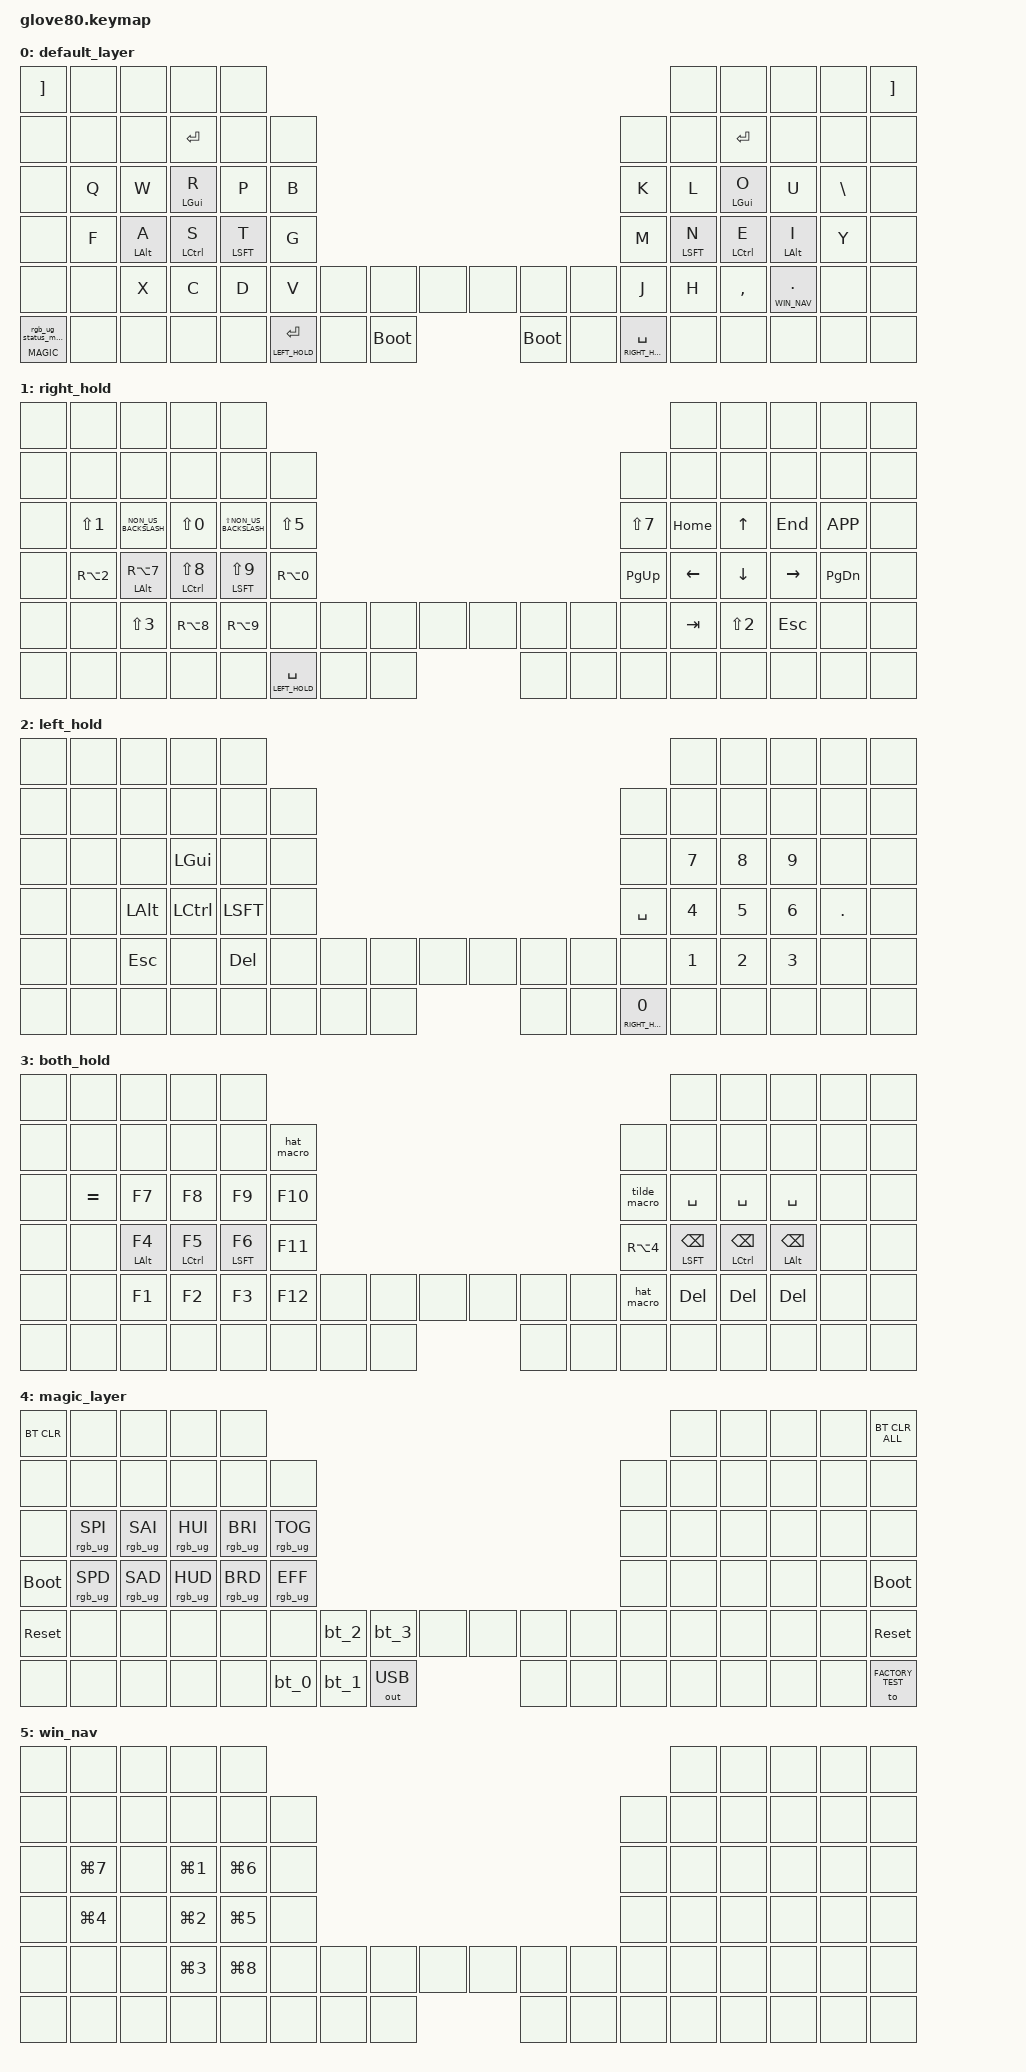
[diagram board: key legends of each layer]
/*
 * Copyright (c) 2020 The ZMK Contributors.key
 *
 * SPDX-License-Identifier: MIT
 */

#include <behaviors.dtsi>
#include <dt-bindings/zmk/keys.h>
#include <dt-bindings/zmk/bt.h>
#include <dt-bindings/zmk/ext_power.h>
#include <dt-bindings/zmk/outputs.h>
#include <dt-bindings/zmk/rgb.h>

#define HYPER LC(LS(LG(LALT)))

// layers
#define DEFAULT 0
#define RIGHT_HOLD 1
#define LEFT_HOLD 2
#define BOTH_HOLD 3 
#define MAGIC 4
#define WIN_NAV 5
#define FKEYS 6

#define DA_HAT LS(RBKT)
#define DA_TILDE RA(RBKT)
#define DA_DLR RA(N4)

#define ______ &none
#define FACTORY_TEST 3
#define DK_LT NON_US_BACKSLASH
#define DK_GT LS(NON_US_BACKSLASH)
#define DK_BACK RA(NON_US_BACKSLASH)
#define DK_AMP LS(N6)
#define DK_PIPE RA(EQUAL)
#define DK_BACKTICK EQUAL
#define DK_PLUS MINUS
#define LEFT_HAND_KEYS  \
     0  1  2  3  4      \
    10 11 12 13 14 15   \
    22 23 24 25 26 27   \
    34 35 36 37 38 39   \
    46 47 48 49 50 51 52 53 54 \
    64 65 66 67 68    69 70 71 


#define RIGHT_HAND_KEYS \
             5  6  7  8  9    \
          16 17 18 19 20 21   \
          28 29 30 31 32 33   \
          40 41 42 43 44 45   \
 55 56 57 58 59 60 61 62 63   \
 72 73 74    75 76 77 78 78
#define ENT ENTER
/ {
    behaviors {
      gui: homerow_mods_gui { compatible = "zmk,behavior-hold-tap"; label = "HOMEROW_MODS_GUI"; #binding-cells = <2>; tapping-term-ms = <350>; flavor = "tap-preferred"; bindings = <&kp>, <&kp>; };
      rm: homerow_mods_right {
          compatible = "zmk,behavior-hold-tap";
          label = "HOMEROW_MODS";
          #binding-cells = <2>;
          tapping-term-ms = <200>;
          flavor = "balanced";
          bindings = <&kp>, <&kp>;
        //  hold-trigger-key-positions = <LEFT_HAND_KEYS>;
      }; 

      lm: homerow_mods_left {
          compatible = "zmk,behavior-hold-tap";
          label = "HOMEROW_MODS";
          #binding-cells = <2>;
          tapping-term-ms = <200>;
          flavor = "balanced";
          bindings = <&kp>, <&kp>;
          //hold-trigger-key-positions = <RIGHT_HAND_KEYS>;
      };
      magic: magic_hold_tap {
            compatible = "zmk,behavior-hold-tap";
            label = "MAGIC_HOLD_TAP";
            #binding-cells = <2>;
            flavor = "tap-preferred";
            tapping-term-ms = <200>;
            bindings = <&mo>, <&rgb_ug_status_macro>;
      };
      thumbs: thumb_balanced {
            compatible = "zmk,behavior-hold-tap";
            label = "thumb_stuff";
            #binding-cells = <2>;
            flavor = "balanced";
            tapping-term-ms = <200>;
            bindings = <&mo>, <&kp>;
      };
    conditional_layers {
        compatible = "zmk,conditional-layers";
        tri_layer {
          if-layers = <1 2>;
          then-layer = <3>;
        };
      };

    combos {
        compatible = "zmk,combos";
        // base layer combos
        combo_j { timeout-ms = <50>; key-positions = <24 25>; bindings = <&kp J>; layers = <0>;};
        combo_ae { timeout-ms = <50>; key-positions = <29 30>; bindings = <&kp SEMI>; layers = <0>; };
        combo_oe { timeout-ms = <50>; key-positions = <29 31>; bindings = <&kp SQT>;  layers = <0>; };
        combo_aa { timeout-ms = <50>; key-positions = <30 31>; bindings = <&kp LBKT>;  layers = <0>; };
        combo_v { timeout-ms = <50>; key-positions = <37 38>; bindings = <&kp V>;  layers = <0>;};
        combo_z { timeout-ms = <50>; key-positions = <36 37>; bindings = <&kp Z>;  layers = <0>;};
        //combo_z { timeout-ms = <50>; key-positions = <48 49>; bindings = <&kp Z>;  layers = <0>;};
        combo_dash { timeout-ms = <50>; key-positions = <42 43>; bindings = <&kp SLASH>; layers = <0>;};
        //combo_dash { timeout-ms = <50>; key-positions = <41 42>; bindings = <&kp SLASH>; layers = <0>;};
        
        // arrow layer combos

        combo_exclamation { timeout-ms = <50>; key-positions = <24 25>; bindings = <&kp LS(N1)>; layers = <1>;};
        combo_question { timeout-ms = <50>; key-positions = <30 31>; bindings = <&kp LS(MINUS)>;  layers = <1>; };
        combo_backslash { timeout-ms = <50>; key-positions = <48 49>; bindings = <&kp DK_BACK>; layers = <1>; };
        combo_and_ampersand { timeout-ms = <50>; key-positions = <37 38>; bindings = <&kp DK_AMP>;layers = <1>; };
        combo_or_pipe { timeout-ms = <50>; key-positions = <41 42>; bindings = <&kp DK_PIPE>; layers = <1>; };
        combo_plus { timeout-ms = <50>; key-positions = <42 43>; bindings = <&kp DK_PLUS>; layers = <1>; };

        combo_alt_f4 { timeout-ms = <50>; key-positions = <38 41>; bindings = <&kp LA(F4)>; layers = <3>;};
        //combo_enter_left { timeout-ms = <50>; key-positions = <36 37 38>; bindings = <&kp ENTER>; };
        //combo_enter_right { timeout-ms = <50>; key-positions = <41 42 43>; bindings = <&kp ENTER>; };
      };

    };

    macros {
        rgb_ug_status_macro: rgb_ug_status_macro_0 { label = "RGB_UG_STATUS"; compatible = "zmk,behavior-macro"; #binding-cells = <0>; bindings = <&rgb_ug RGB_STATUS>; };
        bt_0: bt_profile_macro_0 { label = "BT_0"; compatible = "zmk,behavior-macro"; #binding-cells = <0>; bindings = <&out OUT_BLE>, <&bt BT_SEL 0>; };
        bt_1: bt_profile_macro_1 { label = "BT_1"; compatible = "zmk,behavior-macro"; #binding-cells = <0>; bindings = <&out OUT_BLE>, <&bt BT_SEL 1>; };
        bt_2: bt_profile_macro_2 { label = "BT_2"; compatible = "zmk,behavior-macro"; #binding-cells = <0>; bindings = <&out OUT_BLE>, <&bt BT_SEL 2>; };
        bt_3: bt_profile_macro_3 { label = "BT_3"; compatible = "zmk,behavior-macro"; #binding-cells = <0>; bindings = <&out OUT_BLE>, <&bt BT_SEL 3>; };
        tilde_macro: tilde_macro { compatible = "zmk,behavior-macro"; #binding-cells = <0>; bindings = <&macro_press &kp RALT>, <&macro_tap &kp RBKT>, <&macro_release &kp RALT>, <&macro_tap &kp SPACE>; };
       hat_macro: hat_macro { compatible = "zmk,behavior-macro"; #binding-cells = <0>; bindings = <&kp DA_HAT &kp SPACE>; };
    };

    keymap {

        compatible = "zmk,keymap";
        default_layer {
            bindings = <
           &kp RBKT        ______     ______     ______      ______                                                                                                                  ______       ______      ______          ______    &kp RBKT
           ______          ______     ______     &kp ENTER   ______      ______                                                                                            ______    ______       &kp ENTER   ______          ______    ______
           ______          &kp Q      &kp W      &gui LGUI R &kp P       &kp B                                                                                             &kp K     &kp L        &gui LGUI O &kp U           &kp BSLH  ______
           ______          &kp F  &lm LALT A &lm LCTL S  &lm LSFT T  &kp G                                                                                             &kp M     &rm LSFT N   &rm LCTL E  &rm LALT I      &kp Y     ______
           ______          ______     &kp X      &kp C       &kp D       &kp V   ______                  ______ ______      ______      ______ ______                     &kp J    &kp H        &kp COMMA   &lt WIN_NAV DOT ______    ______
           &magic MAGIC 0  ______     ______     ______      ______               &thumbs LEFT_HOLD ENTER ______ &bootloader &bootloader ______ &thumbs RIGHT_HOLD SPACE             ______       ______      ______          ______    ______
            >;
        };

        right_hold {
            bindings = <
            ______ ______      ______          ______          ______                                                                                                           ______     ______     ______    ______        ______
            ______ ______      ______          ______          ______          ______                                                                                ______     ______     ______     ______    ______        ______
            ______ &kp LS(N1)  &kp DK_LT       &kp LS(N0)      &kp DK_GT       &kp LS(N5)                                                                            &kp LS(N7) &kp HOME   &kp UP     &kp END   &kp K_APP     ______
            ______ &kp RA(N2)  &lm LALT RA(N7) &lm LCTL LS(N8) &lm LSFT LS(N9) &kp RA(N0)                                                                            &kp PG_UP  &kp LEFT   &kp DOWN   &kp RIGHT &kp PG_DN     ______
            ______ ______      &kp LS(N3)      &kp RA(N8)      &kp RA(N9)      ______     ______            ______      ______      ______      ______    ______     ______     &kp TAB    &kp LS(N2) &kp ESC   ______        ______
            ______ ______      ______          ______          ______             &thumbs LEFT_HOLD SPACE   ______      ______      ______      ______    ______                ______     ______     ______    ______        ______
            >;
        };
        
        left_hold {
            bindings = <
            ______ ______ ______   ______   ______                                                                                       ______  ______ ______ ______  ______ 
            ______ ______ ______   ______   ______    ______                                                                   ______    ______  ______ ______ ______  ______      
            ______ ______ ______   &kp LGUI ______    ______                                                                   ______    &kp N7 &kp N8  &kp N9 ______  ______      
            ______ ______ &kp LALT &kp LCTL &kp LSFT  ______                                                                   &kp SPACE &kp N4 &kp N5  &kp N6 &kp DOT ______      
            ______ ______ &kp ESC  ______   &kp DEL   ______    ______ ______ ______      ______ ______ ______                 ______    &kp N1 &kp N2  &kp N3 ______  ______      
            ______ ______ ______   ______   ______              ______ ______ ______      ______ ______ &thumbs RIGHT_HOLD N0            ______ ______  ______ ______  ______ 
            >;
        };

        both_hold {
            bindings = <
            ______ ______          ______      ______      ______                                                                                           ______        ______        ______        ______ ______ 
            ______ ______          ______      ______      ______      &hat_macro                                                             ______        ______        ______        ______        ______ ______      
            ______ &kp DK_BACKTICK &kp F7      &kp F8      &kp F9      &kp F10                                                                &tilde_macro  &kp SPACE     &kp SPACE     &kp SPACE     ______ ______
            ______ ______          &lm LALT F4 &lm LCTL F5 &lm LSFT F6 &kp F11                                                                &kp DA_DLR    &rm LSFT BKSP &rm LCTL BKSP &rm LALT BKSP ______ ______
            ______ ______          &kp F1      &kp F2      &kp F3      &kp F12  ______  ______ ______      ______ ______ ______               &hat_macro    &kp DEL       &kp DEL       &kp DEL       ______ ______
            ______ ______          ______      ______      ______               ______  ______ ______      ______ ______ ______               ______        ______        ______        ______        ______ 
            >;
        };
        magic_layer {
            bindings = <
            &bt BT_CLR        &none               &none           &none           &none                                                                                                           &none      &none      &none      &none      &bt BT_CLR_ALL
            &none             &none               &none           &none           &none           &none                                                                                &none      &none      &none      &none      &none      &none
            &none             &rgb_ug RGB_SPI     &rgb_ug RGB_SAI &rgb_ug RGB_HUI &rgb_ug RGB_BRI &rgb_ug RGB_TOG                                                                      &none      &none      &none      &none      &none      &none
            &bootloader       &rgb_ug RGB_SPD     &rgb_ug RGB_SAD &rgb_ug RGB_HUD &rgb_ug RGB_BRD &rgb_ug RGB_EFF                                                                      &none      &none      &none      &none      &none      &bootloader
            &sys_reset        &none               &none           &none           &none           &none           &bt_2     &bt_3     &none            &none     &none     &none       &none      &none      &none      &none      &none      &sys_reset
            &none             &none               &none           &none           &none                           &bt_0     &bt_1     &out OUT_USB     &none     &none     &none                  &none      &none      &none      &none      &to FACTORY_TEST
            >;
        };
        
        win_nav {
            bindings = <
            ______ ______      ______ ______     ______                                                                                               ______ ______ ______ ______ ______
            ______ ______      ______ ______     ______     ______                                                                             ______ ______ ______ ______ ______ ______
            ______ &kp LG(N7)  ______ &kp LG(N1) &kp LG(N6) ______                                                                             ______ ______ ______ ______ ______ ______
            ______ &kp LG(N4)  ______ &kp LG(N2) &kp LG(N5) ______                                                                             ______ ______ ______ ______ ______ ______
            ______ ______      ______ &kp LG(N3) &kp LG(N8) ______            ______     ______      ______      ______      ______    ______  ______ ______ ______ ______ ______ ______
            ______ ______      ______ ______     ______                       ______ ______      ______      ______      ______    ______             ______ ______ ______ ______ ______
            >;
        };
    };
};
